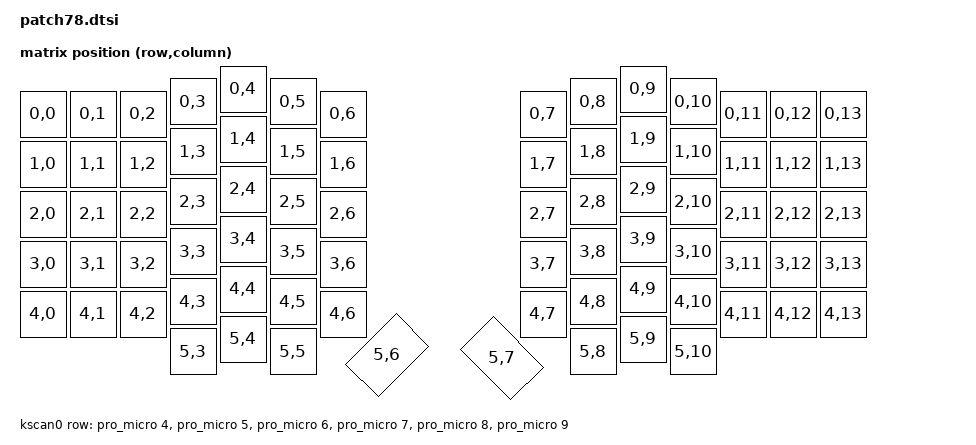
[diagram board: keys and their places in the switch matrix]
/*
 * Copyright (c) 2020 The ZMK Contributors
 *
 * SPDX-License-Identifier: MIT
 */

#include <dt-bindings/zmk/matrix_transform.h>
#include <physical_layouts.dtsi>

/ {
    chosen {
        zmk,kscan = &kscan0;
        zmk,physical-layout = &physical_layout0;
    };

    matrix_transform0: keymap_transform_0 {
        compatible = "zmk,matrix-transform";
        columns = <14>;
        rows = <5>;
// | SW1  | SW2  | SW3  | SW4  | SW5  | SW6  |   | SW6  | SW5  | SW4  | SW3  | SW2  | SW1  |
// | SW7  | SW8  | SW9  | SW10 | SW11 | SW12 |   | SW12 | SW11 | SW10 | SW9  | SW8  | SW7  |
// | SW13 | SW14 | SW15 | SW16 | SW17 | SW18 |   | SW18 | SW17 | SW16 | SW15 | SW14 | SW13 |
// | SW19 | SW20 | SW21 | SW22 | SW23 | SW24 |   | SW24 | SW23 | SW22 | SW21 | SW20 | SW19 |
// | SW25 | SW26 | SW27 | SW28 | SW29 | SW30 |   | SW30 | SW29 | SW28 | SW27 | SW26 | SW25 |
//               | SW31 | SW32 | SW33 | SW34 |   | SW34 | SW33 | SW32 | SW31 |
        map = <
RC(0,0) RC(0,1) RC(0,2) RC(0,3) RC(0,4) RC(0,5) RC(0,6)   RC(0,7) RC(0,8) RC(0,9) RC(0,10) RC(0,11) RC(0,12) RC(0,13)
RC(1,0) RC(1,1) RC(1,2) RC(1,3) RC(1,4) RC(1,5) RC(1,6)   RC(1,7) RC(1,8) RC(1,9) RC(1,10) RC(1,11) RC(1,12) RC(1,13)
RC(2,0) RC(2,1) RC(2,2) RC(2,3) RC(2,4) RC(2,5) RC(2,6)   RC(2,7) RC(2,8) RC(2,9) RC(2,10) RC(2,11) RC(2,12) RC(2,13)
RC(3,0) RC(3,1) RC(3,2) RC(3,3) RC(3,4) RC(3,5) RC(3,6)   RC(3,7) RC(3,8) RC(3,9) RC(3,10) RC(3,11) RC(3,12) RC(3,13)
RC(4,0) RC(4,1) RC(4,2) RC(4,3) RC(4,4) RC(4,5) RC(4,6)   RC(4,7) RC(4,8) RC(4,9) RC(4,10) RC(4,11) RC(4,12) RC(4,13)
                        RC(5,3) RC(5,4) RC(5,5) RC(5,6)   RC(5,7) RC(5,8) RC(5,9) RC(5,10) 
        >;
    };

    kscan0: kscan {
        compatible = "zmk,kscan-gpio-matrix";
        wakeup-source;

        diode-direction = "col2row";
        row-gpios
            = <&pro_micro 4 (GPIO_ACTIVE_HIGH | GPIO_PULL_DOWN)>
            , <&pro_micro 5 (GPIO_ACTIVE_HIGH | GPIO_PULL_DOWN)>
            , <&pro_micro 6 (GPIO_ACTIVE_HIGH | GPIO_PULL_DOWN)>
            , <&pro_micro 7 (GPIO_ACTIVE_HIGH | GPIO_PULL_DOWN)>
            , <&pro_micro 8 (GPIO_ACTIVE_HIGH | GPIO_PULL_DOWN)>
            , <&pro_micro 9 (GPIO_ACTIVE_HIGH | GPIO_PULL_DOWN)>
            ;

    };

    
    physical_layout0: physical_layout_0 {
        compatible = "zmk,physical-layout";
        display-name = "Default";

        kscan = <&kscan0>;
        transform = <&matrix_transform0>;
        keys  //                     w   h    x    y     rot    rx    ry
            = <&key_physical_attrs 100 100    0   50       0     0     0>
            , <&key_physical_attrs 100 100  100   50       0     0     0>
            , <&key_physical_attrs 100 100  200   50       0     0     0>
            , <&key_physical_attrs 100 100  300   25       0     0     0>
            , <&key_physical_attrs 100 100  400    0       0     0     0>
            , <&key_physical_attrs 100 100  500   25       0     0     0>
            , <&key_physical_attrs 100 100  600   50       0     0     0>
            , <&key_physical_attrs 100 100 1000   50       0     0     0>
            , <&key_physical_attrs 100 100 1100   25       0     0     0>
            , <&key_physical_attrs 100 100 1200    0       0     0     0>
            , <&key_physical_attrs 100 100 1300   25       0     0     0>
            , <&key_physical_attrs 100 100 1400   50       0     0     0>
            , <&key_physical_attrs 100 100 1500   50       0     0     0>
            , <&key_physical_attrs 100 100 1600   50       0     0     0>
            , <&key_physical_attrs 100 100    0  150       0     0     0>
            , <&key_physical_attrs 100 100  100  150       0     0     0>
            , <&key_physical_attrs 100 100  200  150       0     0     0>
            , <&key_physical_attrs 100 100  300  125       0     0     0>
            , <&key_physical_attrs 100 100  400  100       0     0     0>
            , <&key_physical_attrs 100 100  500  125       0     0     0>
            , <&key_physical_attrs 100 100  600  150       0     0     0>
            , <&key_physical_attrs 100 100 1000  150       0     0     0>
            , <&key_physical_attrs 100 100 1100  125       0     0     0>
            , <&key_physical_attrs 100 100 1200  100       0     0     0>
            , <&key_physical_attrs 100 100 1300  125       0     0     0>
            , <&key_physical_attrs 100 100 1400  150       0     0     0>
            , <&key_physical_attrs 100 100 1500  150       0     0     0>
            , <&key_physical_attrs 100 100 1600  150       0     0     0>
            , <&key_physical_attrs 100 100    0  250       0     0     0>
            , <&key_physical_attrs 100 100  100  250       0     0     0>
            , <&key_physical_attrs 100 100  200  250       0     0     0>
            , <&key_physical_attrs 100 100  300  225       0     0     0>
            , <&key_physical_attrs 100 100  400  200       0     0     0>
            , <&key_physical_attrs 100 100  500  225       0     0     0>
            , <&key_physical_attrs 100 100  600  250       0     0     0>
            , <&key_physical_attrs 100 100 1000  250       0     0     0>
            , <&key_physical_attrs 100 100 1100  225       0     0     0>
            , <&key_physical_attrs 100 100 1200  200       0     0     0>
            , <&key_physical_attrs 100 100 1300  225       0     0     0>
            , <&key_physical_attrs 100 100 1400  250       0     0     0>
            , <&key_physical_attrs 100 100 1500  250       0     0     0>
            , <&key_physical_attrs 100 100 1600  250       0     0     0>
            , <&key_physical_attrs 100 100    0  350       0     0     0>
            , <&key_physical_attrs 100 100  100  350       0     0     0>
            , <&key_physical_attrs 100 100  200  350       0     0     0>
            , <&key_physical_attrs 100 100  300  325       0     0     0>
            , <&key_physical_attrs 100 100  400  300       0     0     0>
            , <&key_physical_attrs 100 100  500  325       0     0     0>
            , <&key_physical_attrs 100 100  600  350       0     0     0>
            , <&key_physical_attrs 100 100 1000  350       0     0     0>
            , <&key_physical_attrs 100 100 1100  325       0     0     0>
            , <&key_physical_attrs 100 100 1200  300       0     0     0>
            , <&key_physical_attrs 100 100 1300  325       0     0     0>
            , <&key_physical_attrs 100 100 1400  350       0     0     0>
            , <&key_physical_attrs 100 100 1500  350       0     0     0>
            , <&key_physical_attrs 100 100 1600  350       0     0     0>
            , <&key_physical_attrs 100 100    0  450       0     0     0>
            , <&key_physical_attrs 100 100  100  450       0     0     0>
            , <&key_physical_attrs 100 100  200  450       0     0     0>
            , <&key_physical_attrs 100 100  300  425       0     0     0>
            , <&key_physical_attrs 100 100  400  400       0     0     0>
            , <&key_physical_attrs 100 100  500  425       0     0     0>
            , <&key_physical_attrs 100 100  600  450       0     0     0>
            , <&key_physical_attrs 100 100 1000  450       0     0     0>
            , <&key_physical_attrs 100 100 1100  425       0     0     0>
            , <&key_physical_attrs 100 100 1200  400       0     0     0>
            , <&key_physical_attrs 100 100 1300  425       0     0     0>
            , <&key_physical_attrs 100 100 1400  450       0     0     0>
            , <&key_physical_attrs 100 100 1500  450       0     0     0>
            , <&key_physical_attrs 100 100 1600  450       0     0     0>
            , <&key_physical_attrs 100 100  300  525       0     0     0>
            , <&key_physical_attrs 100 100  400  500       0     0     0>
            , <&key_physical_attrs 100 100  500  525       0     0     0>
            , <&key_physical_attrs 150 100  650  600 (-4500)   650   600>
            , <&key_physical_attrs 150 100  950  500    4500   950   500>
            , <&key_physical_attrs 100 100 1100  525       0     0     0>
            , <&key_physical_attrs 100 100 1200  500       0     0     0>
            , <&key_physical_attrs 100 100 1300  525       0     0     0>
            ;
    };
};

